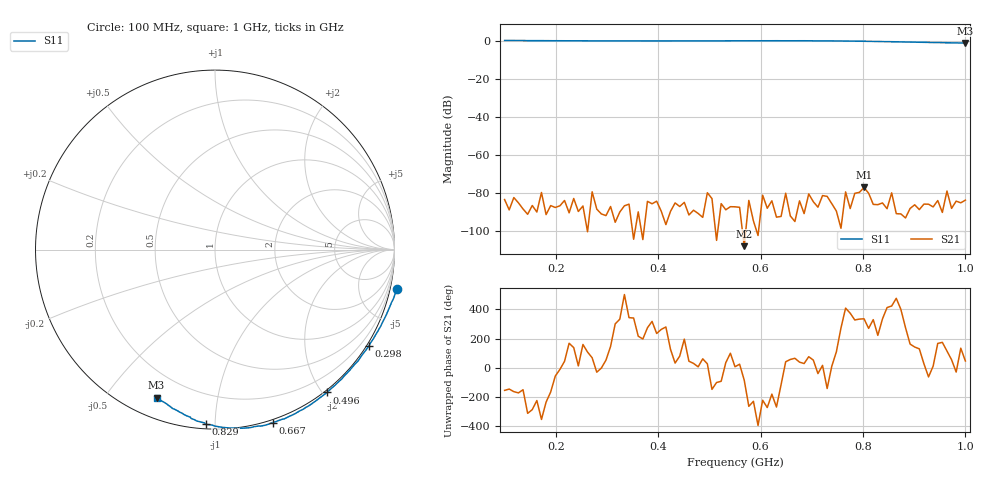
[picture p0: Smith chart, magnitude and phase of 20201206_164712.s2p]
# HZ S RI R 50
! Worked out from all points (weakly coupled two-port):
!   101 points, 100 MHz to 1 GHz, reference 50 ohm
!   highest |S21| = -76.92 dB at 802 MHz (marker M1); lowest = -107.7 dB at 568 MHz (marker M2)
!   lowest |S11| = -1.0 dB at 1 GHz (marker M3), VSWR 16.62, Z = 4.39 - j33.8 ohm
!   |S11| at or under -10 dB: nowhere
!   S12 and S22 are empty: the file has one direction only
!   S11 on the Smith chart (normalised r, x): 100 MHz: -1.52, -9.09; 298 MHz: -0.07, -3.48; 496 MHz: -0.03, -2.05; 667 MHz: -0.02, -1.39; 829 MHz: 0.02, -0.95; 1 GHz: 0.09, -0.68
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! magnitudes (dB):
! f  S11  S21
! 100 MHz  0.3  -83.3
! 253 MHz  0.1  -86.6
! 271 MHz  0.1  -79.2
! 298 MHz  0.1  -91.7
! 406 MHz  0.1  -89.4
! 496 MHz  0.1  -79.7
! 550 MHz  0.1  -87.1
! 568 MHz  0.1  -107.7
! 667 MHz  0.1  -94.8
! 703 MHz  0.1  -84.4
! 757 MHz  0.0  -98.3
! 766 MHz  0.0  -79.2
! 784 MHz  -0.1  -80.0
! 793 MHz  -0.1  -79.5
! 802 MHz  -0.1  -76.9
! 811 MHz  -0.2  -79.9
! 829 MHz  -0.2  -85.9
! 856 MHz  -0.4  -79.7
! 955 MHz  -0.9  -90.0
! 964 MHz  -0.9  -78.8
! 973 MHz  -1.0  -87.9
! 1 GHz  -1.0  -83.6
